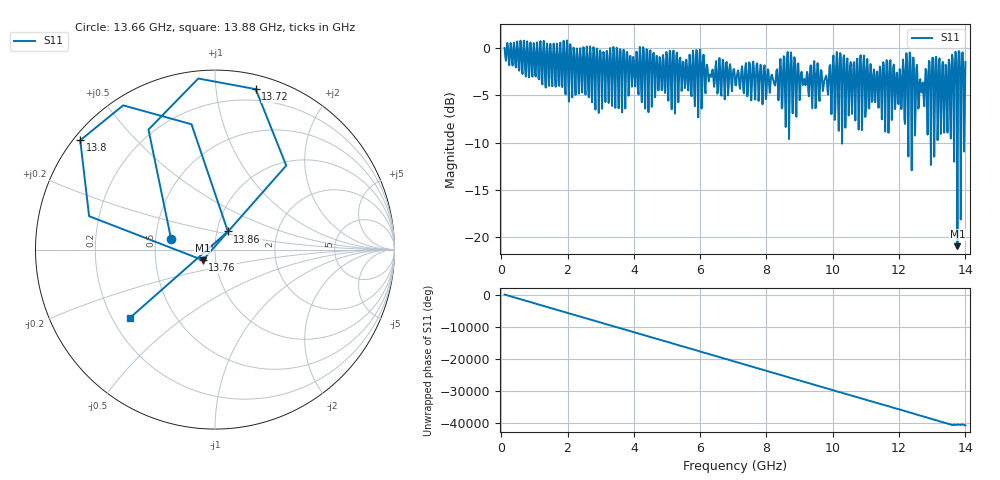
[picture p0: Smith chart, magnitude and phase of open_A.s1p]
!Keysight Technologies,E5080B,MY59100652,A.14.10.03
!Date: Wednesday, May 25, 2022 16:48:21
!Correction: S11(Off)
!S1P File: Measurement: :
# Hz S  RI  R 50
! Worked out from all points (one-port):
!   696 points, 100 MHz to 14 GHz, reference 50 ohm
!   lowest |S11| = -21.0 dB at 13.76 GHz (marker M1), VSWR 1.20, Z = 43.4 - j5.13 ohm
!   |S11| at or under -10 dB: 10.27964 GHz to 10.28037 GHz (731.1 kHz wide, 0.00711 % of centre); 12.27462 GHz to 12.28342 GHz (8.796 MHz wide, 0.0716 % of centre); 12.37325 GHz to 12.3869 GHz (13.65 MHz wide, 0.11 % of centre) (the widest 3 of 9)
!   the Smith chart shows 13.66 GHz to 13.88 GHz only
!   S11 on the Smith chart (normalised r, x): 13.66 GHz: 0.60, +0.07; 13.72 GHz: 0.11, +1.28; 13.76 GHz: 0.87, -0.10; 13.8 GHz: 0.02, +0.35; 13.86 GHz: 1.13, +0.23; 13.88 GHz: 0.27, -0.33
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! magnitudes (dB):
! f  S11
! 100 MHz  0.0
! 1.84 GHz  -4.1
! 3.58 GHz  -0.1
! 5.32 GHz  -2.1
! 7.06 GHz  -3.9
! 8.8 GHz  -6.9
! 10.54 GHz  -1.5
! 12.18 GHz  -8.0
! 12.22 GHz  -0.5
! 12.28 GHz  -11.5
! 12.32 GHz  -0.5
! 12.48 GHz  -9.2
! 13.02 GHz  -1.0
! 13.06 GHz  -11.5
! 13.12 GHz  -0.9
! 13.16 GHz  -9.7
! 13.5 GHz  -1.2
! 13.56 GHz  -9.6
! 13.6 GHz  -0.7
! 13.66 GHz  -12.0
! 13.72 GHz  -0.7
! 13.76 GHz  -21.0
! 13.8 GHz  -0.3
! 13.86 GHz  -18.1
! 13.88 GHz  -4.4
! 13.92 GHz  -0.4
! 13.94 GHz  -2.6
! 14 GHz  -1.5
